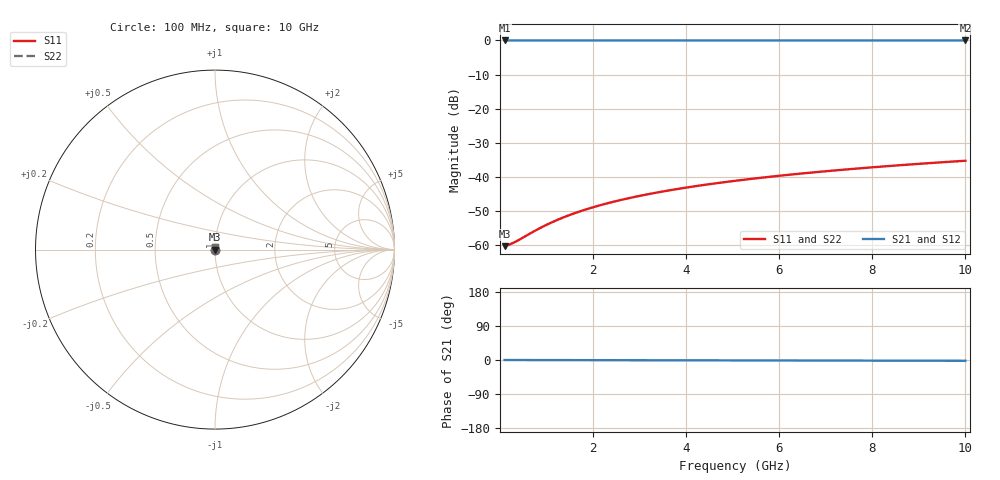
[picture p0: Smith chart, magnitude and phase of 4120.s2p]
# Hz S RI R 50.00
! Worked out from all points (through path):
!   100 points, 100 MHz to 10 GHz, reference 50 ohm
!   highest |S21| = -0.01 dB at 100 MHz (marker M1); lowest = 0.0 dB at 10 GHz (marker M2)
!   lowest |S11| = -60.4 dB at 100 MHz (marker M3), VSWR 1.00, Z = 50.1 + j0.0171 ohm
!   |S11| at or under -10 dB: start of sweep to end of sweep
!   |S22| runs from -60.4 to -35.3 dB; largest |S21 - S12| = 0
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1e8  0.000941 0.000171  0.9991 -0.000363  0.9991 -0.000363  0.000941 0.000171
2e8  0.000947 0.000342  0.9991 -0.000725  0.9991 -0.000725  0.000947 0.000342
3e8  0.000952 0.000512  0.999 -0.00109  0.999 -0.00109  0.000952 0.000512
4e8  0.000956 0.000683  0.999 -0.00145  0.999 -0.00145  0.000956 0.000683
8e8  0.00097 0.00137  0.999 -0.0029  0.999 -0.0029  0.00097 0.00137
1.1e9  0.000979 0.00188  0.999 -0.00399  0.999 -0.00399  0.000979 0.00188
1.4e9  0.000989 0.00239  0.999 -0.00508  0.999 -0.00508  0.000989 0.00239
1.6e9  0.000995 0.00273  0.999 -0.0058  0.999 -0.0058  0.000995 0.00273
1.8e9  0.001 0.00307  0.999 -0.00653  0.999 -0.00653  0.001 0.00307
2.1e9  0.00101 0.00359  0.999 -0.00761  0.999 -0.00761  0.00101 0.00359
2.5e9  0.00103 0.00427  0.999 -0.00906  0.999 -0.00906  0.00103 0.00427
2.9e9  0.00105 0.00495  0.9989 -0.0105  0.9989 -0.0105  0.00105 0.00495
3.4e9  0.00107 0.00581  0.9989 -0.0123  0.9989 -0.0123  0.00107 0.00581
3.8e9  0.00109 0.00649  0.9989 -0.0138  0.9989 -0.0138  0.00109 0.00649
4.2e9  0.00111 0.00717  0.9988 -0.0152  0.9988 -0.0152  0.00111 0.00717
4.6e9  0.00114 0.00785  0.9988 -0.0167  0.9988 -0.0167  0.00114 0.00785
5.1e9  0.00117 0.00871  0.9988 -0.0185  0.9988 -0.0185  0.00117 0.00871
5.9e9  0.00123 0.0101  0.9987 -0.0214  0.9987 -0.0214  0.00123 0.0101
6.7e9  0.0013 0.0114  0.9986 -0.0243  0.9986 -0.0243  0.0013 0.0114
7.5e9  0.00138 0.0128  0.9985 -0.0272  0.9985 -0.0272  0.00138 0.0128
8.4e9  0.00148 0.0143  0.9984 -0.0305  0.9984 -0.0305  0.00148 0.0143
1e10  0.00167 0.0171  0.9981 -0.0363  0.9981 -0.0363  0.00167 0.0171
